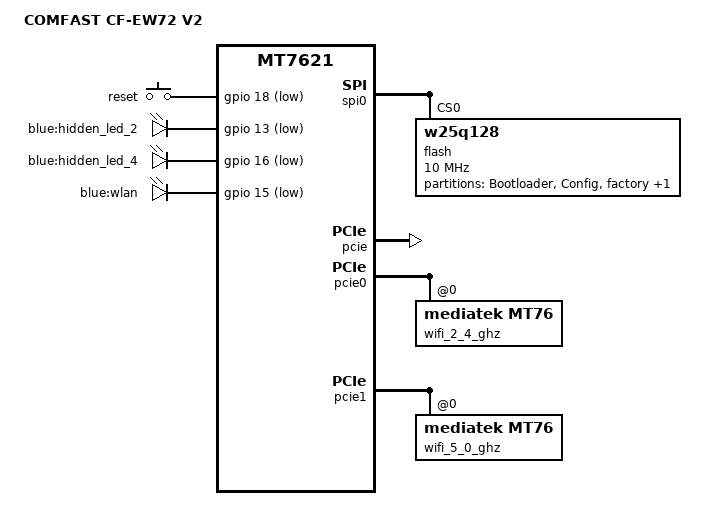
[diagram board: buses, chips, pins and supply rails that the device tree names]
// SPDX-License-Identifier: GPL-2.0-or-later OR MIT

#include "mt7621.dtsi"

#include <dt-bindings/gpio/gpio.h>
#include <dt-bindings/input/input.h>
#include <dt-bindings/leds/common.h>

/ {
	compatible = "comfast,cf-ew72-v2", "mediatek,mt7621-soc";
	model = "COMFAST CF-EW72 V2";
	
	// There are at least two HW variants of cf-ew72-v2: 
	// With external RAM chip and with integrated RAM (RAM chip not soldered).
	// Both act same.

	chosen {
		bootargs = "console=ttyS0,115200";
	};

	keys {
		compatible = "gpio-keys";

		reset {
			label = "reset";
			gpios = <&gpio 18 GPIO_ACTIVE_LOW>;
			linux,code = <KEY_RESTART>;
			debounce-interval = <60>;
		};
	};

	leds {
		compatible = "gpio-leds";

		// The only both visible and controllable indicator is wifi LED.
		// CF-EW72 have 8 LEDs: 
		//  "wlan" is the only LED is controllable with GPIO and have proper hole in shell.
		//  "power", "wan" and "lan" LEDs have proper holes in shell, but can not be controlled with GPIO
		//  "hidden_led_2" and "hidden_led_4" can be controlled with GPIO, but have no proper holes in shell
		//     "hidden_led_2" is between POWER and WAN LEDs
		//     "hidden_led_4" is between WAN and LAN LEDs
		//  "noconn_led_6" and "noconn_led_8" exist, but have no proper holes in shell and not controlled:
		//     "noconn_led_6" is between LAN and WLAN LEDs
		//     "noconn_led_8" is after WLAN LED
		
		// LED "hidden_led_2" between POWER and WAN LEDs is controllable with GPIO, but it has no proper hole in shell;
		// LED "hidden_led_4" between WAN and LAN LEDs is controllable with GPIO, but it has no proper hole in shell;

		// TABLE of LEDs. All leds are blue.
		//
		// Place (WAN->ANT) | Num | GPIO | LED name (LuCI)   | Note
		// -----------------|-----|-----------------------------------------------------------------------------------------         
		//            power | 1   |      |                   | POWER LED. Not controlled with GPIO.
		//     hidden_led_2 | 2   | 13   | blue:hidden_led_2 | This LED does not have proper hole in shell.
		//              wan | 3   |      |                   | WAN LED. Not controlled with GPIO.
		//     hidden_led_4 | 4   | 16   | blue:hidden_led_4 | This LED does not have proper hole in shell.
		//              lan | 5   |      |                   | LAN LED. Not controlled with GPIO.
		//     noconn_led_6 | 6   |      |                   | Not controlled with GPIO, possibly not connected
		//             wlan | 7   | 15   | blue:wlan         | WLAN LED. Wireless indicator.
		//     noconn_led_8 | 8   |      |                   | Not controlled with GPIO, possibly not connected

		hidden_led_2_blue {
			label = "blue:hidden_led_2";
			gpios = <&gpio 13 GPIO_ACTIVE_LOW>;
		};

		hidden_led_4_blue {
			label = "blue:hidden_led_4";
			gpios = <&gpio 16 GPIO_ACTIVE_LOW>;
		};

		wlan_blue {
			label = "blue:wlan";
			gpios = <&gpio 15 GPIO_ACTIVE_LOW>;
		};
	};

	aliases {
		label-mac-device = &wan;
	};
};

&spi0 {
	status = "okay";

	flash@0 {
		compatible = "w25q128";
		reg = <0>;
		spi-max-frequency = <10000000>;
		m25p,fast-read;
		partitions {
			compatible = "fixed-partitions";
			#address-cells = <1>;
			#size-cells = <1>;

			partition@0 {
				label = "Bootloader";
				reg = <0x0 0x30000>;
				read-only;
			};
			
			partition@30000 {
				label = "Config";
				reg = <0x30000 0x10000>;
				read-only;
			};
			
			factory: partition@40000  {
				label = "factory";
				compatible = "nvmem-cells";
				reg = <0x40000 0x10000>;
				read-only;
				nvmem-layout {
					compatible = "fixed-layout";
					#address-cells = <1>;
					#size-cells = <1>;
					macaddr_factory_e000: macaddr@e000 {
						compatible = "mac-base";
						reg = <0xe000 0x6>;
						#nvmem-cell-cells = <1>;
					};

					// Serial number can be found in "factory" at 0xE100. 
					//   it starts and ends with double quotes `"` and is ASCII string
				};
			};
			
			partition@50000  {
				label = "firmware";
				compatible = "denx,uimage";
				reg = <0x50000 0xfb0000>;
			};
		};
	};
};

&gpio {
	groups = "i2c", "uart2", "uart3", "sdhci", "jtag";
	function = "gpio";
};

&gmac0 {
	nvmem-cells = <&macaddr_factory_e000 0>;
	nvmem-cell-names = "mac-address";
};

&pcie {
	status = "okay";
};

&pcie0 {
	wifi_2_4_ghz: wifi@0,0 {
		compatible = "mediatek,mt76";
		reg = <0x0000 0 0 0 0>;
		mediatek,mtd-eeprom = <&factory 0x0000>;
		// Wi-Fi device reads it's MAC address from EEPROM (&factory + 4)
		// adding anything related to mac-address here will cause use random MAC
	};
};

&pcie1 {
	wifi_5_0_ghz: wifi@0,0 {
		compatible = "mediatek,mt76";
		reg = <0x0000 0 0 0 0>;
		mediatek,mtd-eeprom = <&factory 0x8000>;
		// Wi-Fi device reads it's MAC address from EEPROM, (&factory + 0x8000 + 4)
		// adding anything related to mac-address here will cause use random MAC.
	};
};

&pcie2 {
	status = "disabled";
};

&switch0 {
	mediatek,mcm;
	ports {
		wan: port@0 {
			status = "okay";
			label = "wan";
			nvmem-cells = <&macaddr_factory_e000 1>;
			nvmem-cell-names = "mac-address";
		};
		
		lan: port@1 {
			status = "okay";
			label = "lan";
			nvmem-cells = <&macaddr_factory_e000 0>;
			nvmem-cell-names = "mac-address";
		};
	};
};
